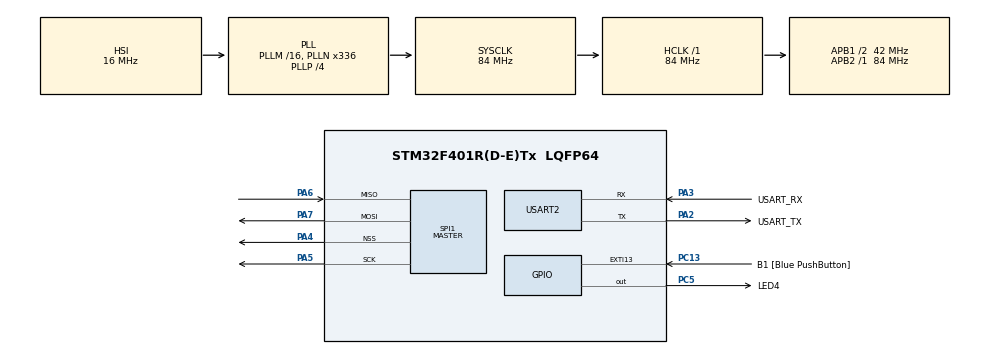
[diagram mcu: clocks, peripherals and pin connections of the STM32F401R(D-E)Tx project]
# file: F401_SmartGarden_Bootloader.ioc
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FATFS._MAX_SS=4096
FATFS._MIN_SS=512
FATFS._USE_LFN=1
Mcu.Family=STM32F4
Mcu.Name=STM32F401R(D-E)Tx
Mcu.Package=LQFP64
NVIC.PriorityGroup=NVIC_PRIORITYGROUP_0
PA13.GPIO_Label=TMS
PA13.Mode=Serial_Wire
PA13.Signal=SYS_JTMS-SWDIO
PA14.GPIO_Label=TCK
PA14.Mode=Serial_Wire
PA14.Signal=SYS_JTCK-SWCLK
PA2.GPIO_Label=USART_TX
PA2.GPIO_Mode=GPIO_MODE_AF_PP
PA2.GPIO_PuPd=GPIO_NOPULL
PA2.GPIO_Speed=GPIO_SPEED_FREQ_LOW
PA2.Mode=Asynchronous
PA2.Signal=USART2_TX
PA3.GPIO_Label=USART_RX
PA3.GPIO_Mode=GPIO_MODE_AF_PP
PA3.GPIO_PuPd=GPIO_NOPULL
PA3.GPIO_Speed=GPIO_SPEED_FREQ_LOW
PA3.Mode=Asynchronous
PA3.Signal=USART2_RX
PA4.Mode=NSS_Signal_Hard_Output
PA4.Signal=SPI1_NSS
PA5.Mode=Full_Duplex_Master
PA5.Signal=SPI1_SCK
PA6.Mode=Full_Duplex_Master
PA6.Signal=SPI1_MISO
PA7.Mode=Full_Duplex_Master
PA7.Signal=SPI1_MOSI
PB3.GPIO_Label=SWO
PB3.Signal=SYS_JTDO-SWO
PC13-ANTI_TAMP.GPIO_Label=B1 [Blue PushButton]
PC13-ANTI_TAMP.GPIO_ModeDefaultEXTI=GPIO_MODE_IT_FALLING
PC13-ANTI_TAMP.GPIO_PuPd=GPIO_NOPULL
PC13-ANTI_TAMP.Signal=GPXTI13
PC14-OSC32_IN.Mode=LSE-External-Oscillator
PC14-OSC32_IN.Signal=RCC_OSC32_IN
PC15-OSC32_OUT.Mode=LSE-External-Oscillator
PC15-OSC32_OUT.Signal=RCC_OSC32_OUT
PC5.GPIO_Label=LED4
PC5.Signal=GPIO_Output
PH0\ -\ OSC_IN.Mode=HSE-External-Clock-Source
PH0\ -\ OSC_IN.Signal=RCC_OSC_IN
PH1\ -\ OSC_OUT.Mode=HSE-External-Clock-Source
PH1\ -\ OSC_OUT.Signal=RCC_OSC_OUT
ProjectManager.HeapSize=0x200
ProjectManager.StackSize=0x400
ProjectManager.TargetToolchain=STM32CubeIDE
RCC.48MHZClocksFreq_Value=48000000
RCC.AHBFreq_Value=84000000
RCC.APB1CLKDivider=RCC_HCLK_DIV2
RCC.APB1Freq_Value=42000000
RCC.APB1TimFreq_Value=84000000
RCC.APB2Freq_Value=84000000
RCC.APB2TimFreq_Value=84000000
RCC.CortexFreq_Value=84000000
RCC.HCLKFreq_Value=84000000
RCC.HSE_VALUE=8000000
RCC.HSI_VALUE=16000000
RCC.PLLN=336
RCC.PLLP=RCC_PLLP_DIV4
RCC.PLLQ=7
RCC.SYSCLKFreq_VALUE=84000000
RCC.SYSCLKSource=RCC_SYSCLKSOURCE_PLLCLK
RCC.VCOOutputFreq_Value=336000000
SPI1.BaudRatePrescaler=SPI_BAUDRATEPRESCALER_16
SPI1.Direction=SPI_DIRECTION_2LINES
SPI1.Mode=SPI_MODE_MASTER
SPI1.VirtualNSS=VM_NSSHARD
SPI1.VirtualType=VM_MASTER
USART2.VirtualMode=VM_ASYNC
VP_CRC_VS_CRC.Mode=CRC_Activate
VP_FATFS_VS_Generic.Mode=User_defined
board=NUCLEO-F401RE

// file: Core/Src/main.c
/* USER CODE BEGIN Header */
/**
 ******************************************************************************
 * @file           : main.c
 * @brief          : Main program body
 ******************************************************************************
 * @attention
 *
 * Copyright (c) 2022 STMicroelectronics.
 * All rights reserved.
 *
 * This software is licensed under terms that can be found in the LICENSE file
 * in the root directory of this software component.
 * If no LICENSE file comes with this software, it is provided AS-IS.
 *
 ******************************************************************************
 */
/* USER CODE END Header */
#include "main.h"
#include "crc.h"
#include "fatfs.h"
#include "spi.h"
#include "usart.h"
#include "gpio.h"

/* USER CODE BEGIN Includes */
#include "fatfs_sd.h"
#include "string.h"
#include "stdio.h"

#include "bootloader.h"
/* USER CODE END Includes */

/* USER CODE BEGIN PV */
FATFS fs;
FIL fil;
FRESULT fresult;
FRESULT fresult;  // result
UINT br, bw;  // File read/write count

char SDPath[4]; /* SD logical drive path */
FATFS SDFatFs; /* File system object for SD logical drive */
FIL SDFile; /* File object for SD */

int error = 0;

/* USER CODE END PV */

void SystemClock_Config(void);
/* USER CODE BEGIN PFP */
int __io_putchar(int ch);

void SD_Eject(void);
void SD_DeInit(void);
void Enter_Bootloader(void);

/* USER CODE END PFP */

int main(void)
{

  /* MCU Configuration--------------------------------------------------------*/

  /* Reset of all peripherals, Initializes the Flash interface and the Systick. */
  HAL_Init();

  /* Configure the system clock */
  SystemClock_Config();

  /* Initialize all configured peripherals */
  MX_GPIO_Init();
  MX_USART2_UART_Init();
  MX_SPI1_Init();
  MX_FATFS_Init();
  MX_CRC_Init();
  /* USER CODE BEGIN 2 */

#if 0
	HAL_Delay(500);
	printf("Welcome to SmartGarden bootloader!\r\n");
	fresult = f_mount(&fs, "", 0);
	if (fresult != FR_OK) {
		printf("Error when mounting SD card.\r\n");
	} else {
		printf("SD card mounted successfully.\r\n");
	}
	HAL_Delay(100);

	/* Create second file with read write access and open it */
	fresult = f_open(&fil, "File1.txt", FA_CREATE_ALWAYS | FA_WRITE);
	if (fresult == FR_OK) {
		printf("File1.txt created succesfully.\r\n");
	} else {
		printf("Error while creating File1.txt!\r\n");
	}

	printf("Writing Hello to File1.txt\r\n");
	/* Writing text */
	fresult = f_write(&fil, "Hello", strlen("Hello"), &bw);

	/* Close file */
	f_close(&fil);
#endif

	printf("\r\n************** BOOTLOADER **************\r\n");
	printf("****************************************\r\n");
	fresult = f_mount(&fs, "", 0);
	if (fresult != FR_OK) {
		printf("Error when mounting SD card.\r\n");
		error = -1;
	} else {
		printf("SD card mounted successfully.\r\n");
	}
	HAL_Delay(10);

	printf("****************************************\r\n");
	printf("Entering Bootloader (flashing GREEN LED)...\r\n");
	HAL_GPIO_TogglePin(LED4_GPIO_Port, LED4_Pin);
	HAL_Delay(250);
	HAL_GPIO_TogglePin(LED4_GPIO_Port, LED4_Pin);
	HAL_Delay(250);
	HAL_GPIO_TogglePin(LED4_GPIO_Port, LED4_Pin);
	HAL_Delay(250);
	HAL_GPIO_TogglePin(LED4_GPIO_Port, LED4_Pin);
	HAL_Delay(250);
	HAL_GPIO_TogglePin(LED4_GPIO_Port, LED4_Pin);
	HAL_Delay(250);
	HAL_GPIO_TogglePin(LED4_GPIO_Port, LED4_Pin);
	HAL_Delay(250);
	HAL_GPIO_TogglePin(LED4_GPIO_Port, LED4_Pin);
	HAL_Delay(250);
	HAL_GPIO_TogglePin(LED4_GPIO_Port, LED4_Pin);
	HAL_Delay(250);
	Enter_Bootloader();

	// CHECK FOR APPLICATION
	if (Bootloader_CheckForApplication() == 0) {
		printf("Application found in FLASH.\r\n");
		// VERIFY CHECKSUM:
		if (Bootloader_VerifyChecksum() != 0) {
			printf("Checksum error.\r\n");
			error = -3;
		} else {
			printf("Checksum OK.\r\n");
		}
	}

	//-- reset peripherals to guarantee flawless start of user application
	/*
	HAL_GPIO_DeInit(GPIOC, &GPIO_InitStruct);
	HAL_GPIO_DeInit(GPIOB, &GPIO_InitStruct);
	HAL_GPIO_DeInit(GPIOD, &GPIO_InitStruct);
*/

	HAL_SPI_DeInit(&hspi1);
	//	MX_FATFS_Init(); deinitje?
	HAL_CRC_DeInit(&hcrc);

	__HAL_RCC_GPIOC_CLK_DISABLE();
	__HAL_RCC_GPIOH_CLK_DISABLE();
	__HAL_RCC_GPIOA_CLK_DISABLE();
	__HAL_RCC_GPIOB_CLK_DISABLE();

	if (error == 0) {
		printf("Launching application in 3 seconds...\r\n");
		HAL_Delay(3000);
		Bootloader_JumpToApplication();
	}
	printf("\r\nWe should never get to here.\r\n");
	printf("Some error must have happened.\r\n");
	HAL_UART_DeInit(&huart2);
  /* USER CODE END 2 */

  /* Infinite loop */
	while (1) {

	}
}

void SystemClock_Config(void)
{
  RCC_OscInitTypeDef RCC_OscInitStruct = {0};
  RCC_ClkInitTypeDef RCC_ClkInitStruct = {0};

  /** Configure the main internal regulator output voltage
  */
  __HAL_RCC_PWR_CLK_ENABLE();
  __HAL_PWR_VOLTAGESCALING_CONFIG(PWR_REGULATOR_VOLTAGE_SCALE2);

  /** Initializes the RCC Oscillators according to the specified parameters
  * in the RCC_OscInitTypeDef structure.
  */
  RCC_OscInitStruct.OscillatorType = RCC_OSCILLATORTYPE_HSI;
  RCC_OscInitStruct.HSIState = RCC_HSI_ON;
  RCC_OscInitStruct.HSICalibrationValue = RCC_HSICALIBRATION_DEFAULT;
  RCC_OscInitStruct.PLL.PLLState = RCC_PLL_ON;
  RCC_OscInitStruct.PLL.PLLSource = RCC_PLLSOURCE_HSI;
  RCC_OscInitStruct.PLL.PLLM = 16;
  RCC_OscInitStruct.PLL.PLLN = 336;
  RCC_OscInitStruct.PLL.PLLP = RCC_PLLP_DIV4;
  RCC_OscInitStruct.PLL.PLLQ = 7;
  if (HAL_RCC_OscConfig(&RCC_OscInitStruct) != HAL_OK)
  {
    Error_Handler();
  }

  /** Initializes the CPU, AHB and APB buses clocks
  */
  RCC_ClkInitStruct.ClockType = RCC_CLOCKTYPE_HCLK|RCC_CLOCKTYPE_SYSCLK
                              |RCC_CLOCKTYPE_PCLK1|RCC_CLOCKTYPE_PCLK2;
  RCC_ClkInitStruct.SYSCLKSource = RCC_SYSCLKSOURCE_PLLCLK;
  RCC_ClkInitStruct.AHBCLKDivider = RCC_SYSCLK_DIV1;
  RCC_ClkInitStruct.APB1CLKDivider = RCC_HCLK_DIV2;
  RCC_ClkInitStruct.APB2CLKDivider = RCC_HCLK_DIV1;

  if (HAL_RCC_ClockConfig(&RCC_ClkInitStruct, FLASH_LATENCY_2) != HAL_OK)
  {
    Error_Handler();
  }
}

/* USER CODE BEGIN 4 */
int __io_putchar(int ch) {
	HAL_UART_Transmit(&huart2, (uint8_t*) &ch, 1, 0xFFFF);
	return ch;
}

/* USER CODE BEGIN 4 */
void SD_Eject(void)
{
    f_mount(NULL, (TCHAR const *)SDPath, 0);
}

void SD_DeInit(void)
{
    // BSP_SD_DeInit();
    // FATFS_DeInit();
    // SDCARD_OFF();
}

/*** Bootloader ***************************************************************/
void Enter_Bootloader(void)
{
    FRESULT fr;
    UINT num;
    uint8_t status;
    uint64_t data;
    uint32_t cntr;
    uint32_t addr;
    char msg[40] = {0x00};

    /* Check for flash write protection */
    if (FLASH_If_GetWriteProtectionStatus() & FLASHIF_PROTECTION_WRPENABLED)
    {
        printf("Application space in flash is write protected. Disabling write protection and generating system reset...\r\n");
        FLASH_If_WriteProtectionConfig(FLASHIF_WRP_DISABLE);
    }

    // Mount SD card
    fr = f_mount(&SDFatFs, (TCHAR const *)SDPath, 1);
    if (fr != FR_OK)
    {
        // f_mount failed
        printf("SD card cannot be mounted. FatFs error code: %u\r\n", fr);
        return;
    }
    printf("SD mounted.\r\n");

    // Open file for programming
    fr = f_open(&SDFile, "application.bin", FA_READ);

    if (fr != FR_OK)
    {
        // f_open failed
        //printf("File cannot be opened. FatFs error code: %u\r\n", fr);

		printf("Error when opening file.\r\n");

		printf("Maybe there is no file on SD card,\r\nas production.bin is flashed.\r\n");
		error = -2;

        SD_Eject();
        printf("SD ejected.\r\n");

        Bootloader_JumpToApplication();

        return;
    }
    printf("Software found on SD.\r\n");

    // Check size of application found on SD card
    /*
    if (Bootloader_CheckSize(f_size(&SDFile)) != BL_OK)
    {
        printf("Error: app on SD card is too large.\r\n");

        f_close(&SDFile);
        SD_Eject();
        printf("SD ejected.\r\n");
        return;
    }
    printf("App size OK.\r\n");
    */

    // Step 1: Init Bootloader and Flash
    FLASH_If_Init();

    // Step 2: Erase Flash
    printf("Erasing flash...\r\n");
    FLASH_If_Erase(USER_START_ADDRESS);
    printf("Flash erase finished.\r\n");

    // Step 3: Programming
    printf("Starting programming...\r\n");
    cntr = 0;

    FLASH_If_FlashBegin();
    do
    {
        data = 0xFFFFFFFFFFFFFFFF;
        fr = f_read(&SDFile, &data, 4, &num);
        if (num)
        {
            status = FLASH_If_Write(data);
            if (status == FLASHIF_OK)
            {
                cntr++;
            }
            else
            {
                printf(msg, "Programming error at: %lu byte\r\n", (cntr * 8));
                f_close(&SDFile);
                SD_Eject();
                printf("SD ejected.\r\n");
                return;
            }
        }
    } while ((fr == FR_OK) && (num > 0));

    // Step 4: Finalize Programming
    FLASH_If_FlashEnd();

    f_close(&SDFile);
    printf("Programming finished. Flashed: %lu bytes.\r\n", (cntr * 4));

    // Open file for verification
    fr = f_open(&SDFile, "application.bin", FA_READ);
    if (fr != FR_OK)
    {
        // f_open failed
        printf("File cannot be opened. FatFs error code: %u\r\n", fr);

        SD_Eject();
        printf("SD ejected.\r\n");
        return;
    }

    // Step 5: Verify Flash Content
    addr = USER_START_ADDRESS;
    cntr = 0;
    do
    {
        data = 0xFFFFFFFFFFFFFFFF;
        fr = f_read(&SDFile, &data, 4, &num);
        if (num)
        {
            if (*(uint32_t *)addr == (uint32_t)data)
            {
                addr += 4;
                cntr++;
            }
            else
            {
                printf("Verification error at: %lu byte.\r\n", (cntr * 4));
                f_close(&SDFile);
                SD_Eject();
                printf("SD ejected.\r\n");
                return;
            }
        }
    } while ((fr == FR_OK) && (num > 0));
    printf("Verification passed.\r\n");

    // Eject SD card
    SD_Eject();
    printf("SD ejected.\r\n");

    // Enable flash write protection
    /*
    printf("Enablig flash write protection and generating system reset...\r\n");
    if (FLASH_If_WriteProtectionConfig(FLASHIF_WRP_ENABLE) != FLASHIF_OK)
    {
        printf("Failed to enable write protection. Exiting Bootloader.\r\n");
    }
    */
}

/* USER CODE END 4 */

void Error_Handler(void)
{
	__disable_irq();
	while (1) {
	}
}
